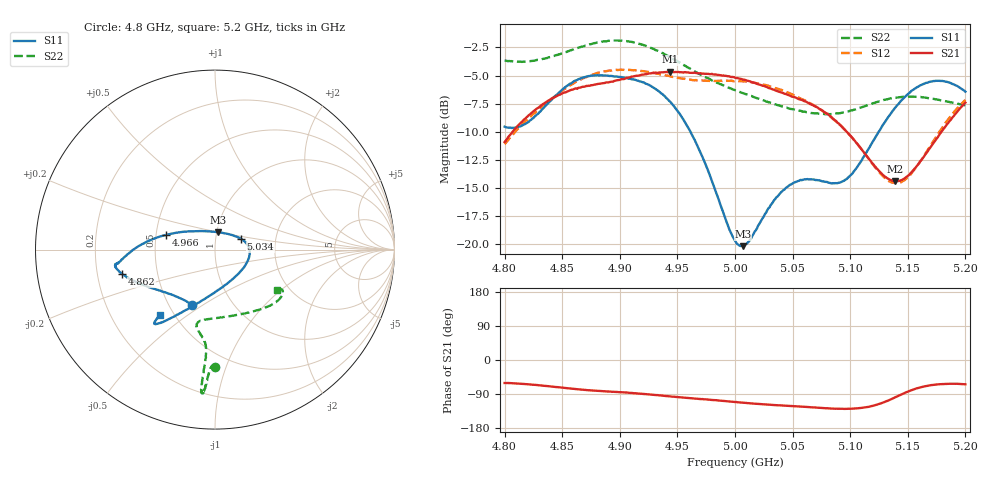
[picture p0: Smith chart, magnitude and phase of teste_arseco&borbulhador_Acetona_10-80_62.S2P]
! Network Analyzer HP8722D
! Hewlett-Packard
! Data name: Linha & Wilkinson
! Saver's name: Rodrigo Anjos
! Comments: Teste da utilização de aquisição
! continua pelo VNA HP8722D
! Time and date: 17/4/2025 14:52
!  Frequency  S11  S21  S12  S22
# HZ  S  MA R 50
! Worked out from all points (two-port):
!   401 points, 4.8 GHz to 5.2 GHz, reference 50 ohm
!   highest |S21| = -4.67 dB at 4.944 GHz (marker M1); lowest = -14.4 dB at 5.139 GHz (marker M2)
!   |S21| within 3 dB of the highest: 4.832 GHz to 5.068 GHz (236.7 MHz wide, 4.78 % of centre); 5.197588 GHz to end of sweep
!   lowest |S11| = -20.1 dB at 5.007 GHz (marker M3), VSWR 1.22, Z = 50.8 + j9.92 ohm
!   |S11| at or under -10 dB: 4.961 GHz to 5.125 GHz (163.3 MHz wide, 3.24 % of centre)
!   |S22| runs from -8.4 to -1.9 dB; largest |S21 - S12| = 0.87
!   S11 on the Smith chart (normalised r, x): 4.8 GHz: 0.65, -0.45; 4.862 GHz: 0.31, -0.12; 4.966 GHz: 0.57, +0.10; 5.034 GHz: 1.33, +0.16; 5.2 GHz: 0.42, -0.40
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4.8e9  0.3334 -113.0  0.2848 -60.7  0.2789 -174.8  0.6556 -89.9
4.819e9  0.3456 -132.9  0.3669 -63.8  0.3553 -173.3  0.6494 -91.5
4.862e9  0.5352 -165.3  0.4927 -76.7  0.5279 -176.4  0.7419 -93.7
4.867e9  0.5482 -167.3  0.5001 -78.4  0.5434 -177.4  0.7557 -93.8
4.9e9  0.5542 -171.9  0.538 -84.8  0.5966 175.8  0.8032 -95.2
4.934e9  0.4784 -177.8  0.5799 -93.2  0.5717 172.0  0.7184 -95.6
4.944e9  0.429 177.6  0.5844 -96.1  0.5571 172.0  0.6772 -95.3
4.966e9  0.2841 163.3  0.5771 -101.7  0.5372 174.1  0.583 -95.0
5e9  0.1041 103.6  0.5506 -111.0  0.5319 176.6  0.4841 -99.1
5.007e9  0.09829 79.5  0.5382 -112.6  0.5287 176.3  0.4696 -100.7
5.013e9  0.1047 60.9  0.5298 -114.4  0.5263 176.1  0.4577 -101.9
5.034e9  0.1573 22.4  0.4865 -119.0  0.4974 175.0  0.4202 -103.5
5.049e9  0.1851 6.7  0.4544 -121.3  0.4651 174.4  0.3994 -100.2
5.067e9  0.1943 -12.3  0.4166 -124.8  0.4191 173.7  0.383 -90.9
5.086e9  0.1869 -42.3  0.3582 -128.4  0.3577 173.7  0.3804 -76.7
5.097e9  0.1953 -64.9  0.3167 -128.9  0.3168 174.8  0.3885 -67.6
5.134e9  0.3737 -115.8  0.1943 -105.5  0.1905 -158.4  0.4438 -42.9
5.139e9  0.4047 -118.9  0.1906 -98.5  0.1872 -150.7  0.4487 -40.7
5.151e9  0.4693 -123.9  0.2034 -82.3  0.2014 -131.8  0.4537 -36.3
5.17e9  0.5289 -128.4  0.2715 -66.4  0.2767 -112.7  0.445 -31.8
5.184e9  0.5272 -129.7  0.3417 -63.0  0.3535 -107.1  0.4313 -30.8
5.2e9  0.4768 -130.2  0.4262 -64.1  0.4386 -106.2  0.4149 -33.1
